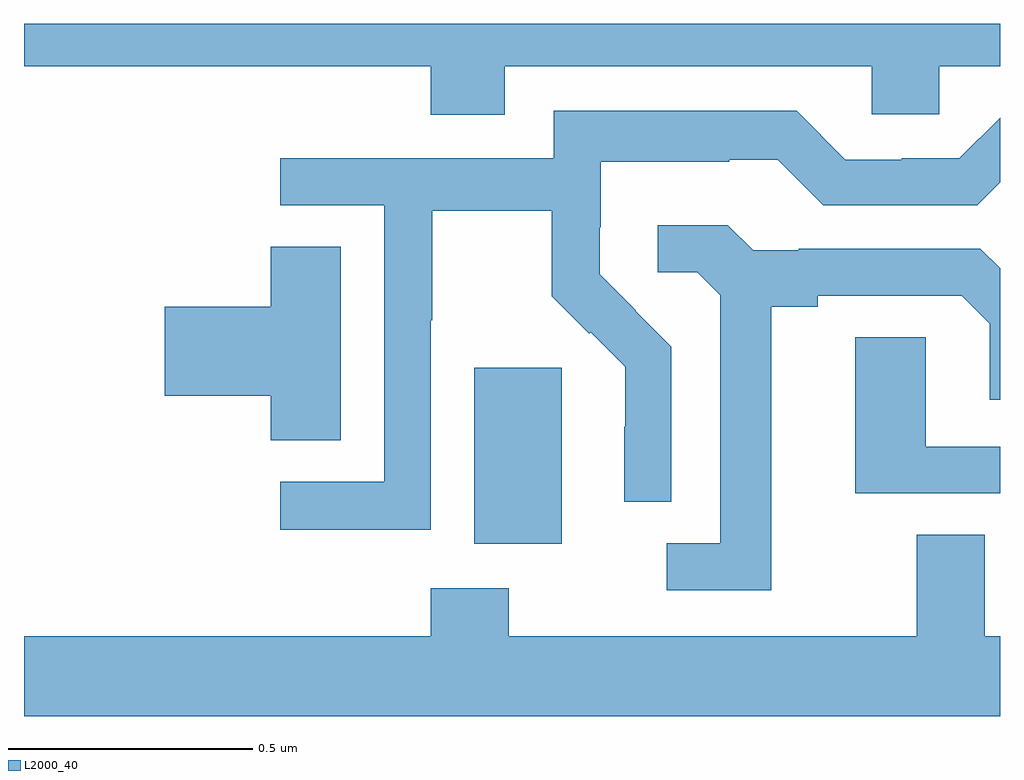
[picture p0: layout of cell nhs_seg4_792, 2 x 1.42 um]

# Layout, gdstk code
import gdstk
lib = gdstk.Library(unit=1e-6, precision=1e-09)
def R(c, l, rs):  # rectangles x0, y0, x1, y1
    for r in rs: c.add(gdstk.rectangle(r[:2], r[2:], *l))
def P(c, l, *ps):  # polygons
    for p in ps: c.add(gdstk.Polygon(p, *l))
L2000_40 = (2000, 40)

nhs_seg4_792 = lib.new_cell('nhs_seg4_792')
R(nhs_seg4_792, L2000_40, [(120.923,803.834,121.102,804.195)])
P(nhs_seg4_792, L2000_40, [(120.985,804.812),(121.737,804.812),(121.737,804.714),(121.875,804.714),(121.875,804.812),(122,804.812),(122,804.9),(120,804.9),(120,804.812),(120.833,804.812),(120.833,804.713),(120.985,804.713)],
  [(120.834,804.292),(120.837,804.292),(120.837,804.516),(121.081,804.516),(121.081,804.341),(121.158,804.264),(121.161,804.267),(121.232,804.197),(121.232,804.074),(121.23,804.074),(121.23,803.92),(121.326,803.92),(121.326,804.238),(121.253,804.311),(121.254,804.312),(121.18,804.386),(121.18,804.483),(121.182,804.483),(121.182,804.617),(121.445,804.617),(121.445,804.621),(121.545,804.621),(121.638,804.528),(121.953,804.528),(122,804.575),(122,804.707),(121.917,804.624),(121.799,804.624),(121.799,804.621),(121.683,804.621),(121.583,804.721),(121.086,804.721),(121.086,804.624),(120.525,804.624),(120.525,804.528),(120.738,804.528),(120.738,803.961),(120.525,803.961),(120.525,803.863),(120.834,803.863)],
  [(121.531,804.32),(121.627,804.32),(121.627,804.342),(121.922,804.342),(121.979,804.285),(121.979,804.129),(122,804.129),(122,804.398),(121.96,804.438),(121.588,804.438),(121.588,804.435),(121.494,804.435),(121.442,804.487),(121.299,804.487),(121.299,804.39),(121.38,804.39),(121.427,804.343),(121.427,803.835),(121.317,803.835),(121.317,803.739),(121.531,803.739)],
  [(120.649,804.443),(120.506,804.443),(120.506,804.32),(120.288,804.32),(120.288,804.137),(120.506,804.137),(120.506,804.046),(120.649,804.046)],
  [(122,804.033),(121.848,804.033),(121.848,804.257),(121.703,804.257),(121.703,803.937),(122,803.937)],
  [(122,803.644),(121.969,803.644),(121.969,803.852),(121.829,803.852),(121.829,803.644),(120.993,803.644),(120.993,803.743),(120.833,803.743),(120.833,803.644),(120,803.644),(120,803.48),(122,803.48)])

lib.write_gds('nhs_seg4_792.gds')
